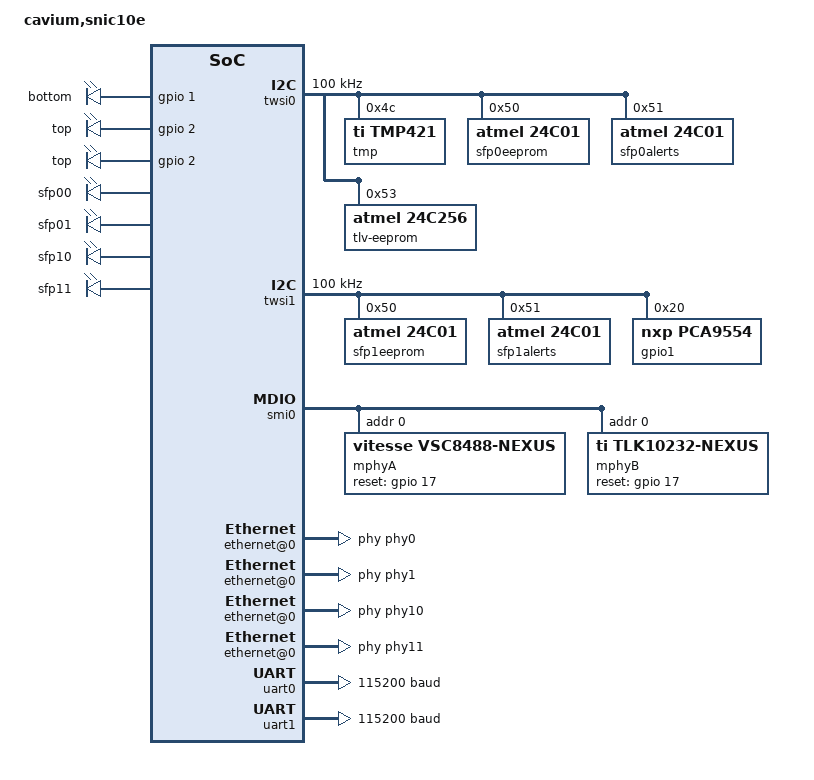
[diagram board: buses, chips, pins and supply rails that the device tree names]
/dts-v1/;
/*
 * Cavium Inc. (Small) NIC10e board
 */
/ {
	model = "cavium,snic10e";
	compatible = "cavium,snic10e";
	#address-cells = <2>;
	#size-cells = <2>;
	interrupt-parent = <&ciu>;

	soc@0 {
		compatible = "simple-bus";
		#address-cells = <2>;
		#size-cells = <2>;
		ranges; /* Direct mapping */

		ciu: interrupt-controller@1070000000000 {
			compatible = "cavium,octeon-3860-ciu";
			interrupt-controller;
			/* Interrupts are specified by two parts:
			 * 1) Controller register (0 or 1)
			 * 2) Bit within the register (0..63)
			 */
			#interrupt-cells = <2>;
			reg = <0x10700 0x00000000 0x0 0x7000>;
		};

		gpio: gpio-controller@1070000000800 {
			#gpio-cells = <2>;
			compatible = "cavium,octeon-3860-gpio";
			reg = <0x10700 0x00000800 0x0 0x100>;
			gpio-controller;
			/* Interrupts are specified by two parts:
			 * 1) GPIO pin number (0..15)
			 * 2) Triggering (1 - edge rising
			 *		  2 - edge falling
			 *		  4 - level active high
			 *		  8 - level active low)
			 */
			interrupt-controller;
			#interrupt-cells = <2>;
			/* The GPIO pins connect to 16 consecutive CUI bits */
			interrupts = <0 16>; /* <0 17> <0 18> <0 19>
				     <0 20> <0 21> <0 22> <0 23>
				     <0 24> <0 25> <0 26> <0 27>
				     <0 28> <0 29> <0 30> <0 31>; */
		};

		twsi0: i2c@1180000001000 {
			#address-cells = <1>;
			#size-cells = <0>;
			compatible = "cavium,octeon-3860-twsi";
			reg = <0x11800 0x00001000 0x0 0x200>;
			interrupts = <0 45>;
			clock-frequency = <100000>;

			tmp@4c {
				compatible = "ti,tmp421";
				reg = <0x4c>;
			};
			sfp0eeprom: eeprom@50 {
				compatible = "atmel,24c01";
				reg = <0x50>;
			};
			/* This is optional, available on some
			 * Avago devices
			 */
			sfp0alerts: eeprom@51 {
				compatible = "atmel,24c01";
				reg = <0x51>;
			};
			tlv-eeprom@53 {
				compatible = "atmel,24c256";
				reg = <0x53>;
				pagesize = <64>;
			};
		};

		twsi1: i2c@1180000001200 {
			#address-cells = <1>;
			#size-cells = <0>;
			compatible = "cavium,octeon-3860-twsi";
			reg = <0x11800 0x00001200 0x0 0x200>;
			interrupts = <0 59>;
			clock-frequency = <100000>;

			sfp1eeprom: eeprom@50 {
				compatible = "atmel,24c01";
				reg = <0x50>;
			};
			sfp1alerts: eeprom@51 {
				compatible = "atmel,24c01";
				reg = <0x51>;
			};
			gpio1: gpio@20 {
				reg = <0x20>;
				compatible = "nxp,pca9554";
				gpio-controller;
				#gpio-cells = <2>;
				interrupt-parent = <&gpio>;
				interrupt = <13 2>; /* OCTEON GPIO 13, falling edge */
				#interrupt-cells = <1>;
				cavium,phy-trim = "0,ti";
			};

		};

		smi0: mdio@1180000001800 {
			compatible = "cavium,octeon-3860-mdio";
			#address-cells = <1>;
			#size-cells = <0>;
			reg = <0x11800 0x00001800 0x0 0x40>;

			mphyA: ethernet-phy-nexus@A {
				reg = <0>;
				/* The Vitesse VSC8488 is a dual-PHY where
				 * some of the configuration is common across
				 * both of the phy devices such as the reset
				 * line and the base MDIO address.
				 */
				compatible = "vitesse,vsc8488-nexus", "ethernet-phy-nexus";
				#address-cells = <1>;
				#size-cells = <0>;
				ranges;
				cavium,phy-trim = "0,vitesse";

				/* Hardware reset signal */
				reset = <&gpio 17 0>;

				phy0: ethernet-phy@0 {
					/* Absolute address */
					reg = <0>;
					compatible = "vitesse,vsc8488", "ethernet-phy-ieee802.3-c45";
					interrupt-parent = <&gpio>;
					interrupts = <13 8>;

					mod_abs = <0>;
					/* TX Fault GPIO line */
					tx_fault = <1>;
					/* GPIO that enables output */
					txon = <4>;
					/* INT A GPIO output */
					inta = <5>;

					/* Optional equalization value to
					 * program into the PHY XS XAUI Rx
					 * Equalization control register.
					 * It is broken up into one nibble for
					 * each lane with lane 0 using bits
					 * 12 - 15.
					 * Use the following table:
					 *	0x0 - 0dB
					 *	0x1 - 1.41dB
					 *	0x2 - 2.24dB
					 *	0x3 - 2.83dB
					 *	0x5 - 4.48dB
					 *	0x6 - 5.39dB
					 *	0x7 - 6.07dB
					 *	0x9 - 6.18dB
					 *	0xA - 7.08dB (default)
					 *	0xB - 7.79dB
					 *	0xD - 9.96dB
					 *	0xE - 10.84dB
					 *	0xF - 11.55dB
					 *
					 * This is board specific and should
					 * only be defined by the hardware
					 * vendor.
					 */
					vitesse,rx_equalization = <0x0000>;
					/* Optional transmit pre-emphasis
					 * control.  This sets the
					 * PHY XS XAUI TX pre-emphasis control
					 * register.
					 *
					 * It uses bits 13-14 for lane 0,
					 * 10-11 for lane 1, 7-8 for lane 2
					 * and 4-5 for lane 3.
					 *
					 * Bits 2-3 are the LOS threshold
					 * setting and bit 1 enables
					 * the XAUI output high swing mode.
					 *
					 * Use the following table for
					 * pre-emphasis:
					 * 0b00 - 0dB
					 * 0b01 - 2.5dB
					 * 0b10 - 6dB (default)
					 * 0b11 - 12dB
					 *
					 * Use the following table for the LOS
					 * threshold setting:
					 *
					 * 0b00 - 50mV - 175mV (default)
					 * 0b01 - 60mV - 185mV
					 * 0b10 - 70mV - 195mV
					 * 0b11 - 80mV - 205mV
					 */
					vitesse,tx_preemphasis = <0x0000>;

					/* TX output driver slew rate control
					 * is bits 8-11 where 0x0 is the minimum
					 * and 0xF is the maximum.
					 * Default is 0xA.
					 *
					 * The TX output driver C(-1)
					 * coefficient is bits 0-4 where
					 * 0b00000 is the minimum (-4ma) and
					 * 0b11111 is the maximum (4ma).  The
					 * default 0x 0b01111.
					 */
					vitesse,txout_driver_ctrl1 = <0x0A0F>;

					/* The TX output driver C(0) coefficient
					 * is bits 8-12 with 0b00000 being the
					 * minimum (0mA) and 0b11111 being
					 * the maximum (16mA). The default is
					 * 0b10011
					 *
					 * The C(+1) coefficient is bits 0-5
					 * with 0b000000 being the minimum
					 * (-0.25mA) and 0b111111 being the
					 * maximum (-16mA).  The default is
					 * 0b000000.
					 */
					/*vitesse,txout_driver_ctrl2 = <0x1300>;*/

					/* DC_AGC_LOS_CONFIG1:
					 *   15: Suppress_Coarse_Adj_on_LOS_Clear
					 *	0: DC offset correction performed using coarse
					 *	   resolution mode (default)
					 *	1: DC offset correction performed using fine resolution
					 *	   mode when correction resumes after LOPC/LOS alarms
					 *	   clear.  This guarantees there will be no big jumps in
					 *	   the offset at the expense of taking longer to reach
					 *	   optimal setting.
					 *   14: Force_DC2_Fine_Adj:
					 *	Forces the DC offset correction to operate in fine
					 *	resolution adjustment mode at times when the algorithm.
					 *	0: DC offset correction makes coarse adjustments when
					 *	   correction mode is first enabled (default)
					 *	1: DC offset correction performed using fine resolution
					 *	   at all times.  This is slower.
					 *   13: Force_DC1_Fine_Adj:
					 *	Forces the DC offset correction to operate in fine
					 *	resolution adjustment mode at times when the algorithm.
					 *	0: DC offset correction makes coarse adjustments when
					 *	   correction mode is first enabled (default)
					 *	1: DC offset correction performed using fine resolution
					 *	   at all times.  This is slower.
					 *   12: Force_DC0_Fine_Adj:
					 *	Forces the DC offset correction to operate in fine
					 *	resolution adjustment mode at times when the algorithm.
					 *	0: DC offset correction makes coarse adjustments when
					 *	   correction mode is first enabled (default)
					 *	1: DC offset correction performed using fine resolution
					 *	   at all times.  This is slower.
					 *   10: Skip_DC2_Adj, 1 = skip DC2 offset correction
					 *   9:  Skip_DC1_Adj, 1 = skip DC1 offset correction
					 *   8:  Skip_DC0_Adj, 1 = skip DC0 offset correction
					 *
					 *   6-4: DC_Offset_Alarm_Mode (default 1)
					 *	Selects the alarm condition that will halt the DC offset
					 *	correction logic when the alarm(s) are set.
					 *	111: reserved
					 *	110: reserved
					 *	101: LOPC and software LOS detection
					 *	100: LOPC and hardware LOS detection
					 *	011: Software LOS detection
					 *	010: Hardware LOS detection
					 *	001: LOPC
					 *	000: Never.  DC offset correction will continue to make
					 *	     fine resolution adjustments to the offsets even
					 *	     when LOPC and LOS alarms are present.
					 *
					 *  3: AGC_Enable
					 *	Selects when hardware AGC adjustment logic and LOS
					 *	detection logic is enabled (default 1)
					 *	0: disabled
					 *	1: enabled
					 *  2: AGC_Suspend
					 *	Suspends the LOS detection logic and AGC logic
					 *	from making adjustments to the gain.  Bit valid only
					 *	if AGC_Enable=1
					 *	0: AGC adjustment enabled (default)
					 *	1: AGC adjustment suspended
					 *  1: DC_Offset_Adj_Enable
					 *	Select when the hardware DC offset correction logic is
					 *	enabled.
					 *	0: disable
					 *	1: enable (default)
					 *  0: DC_Offset_Adj_Suspend
					 *	Suspends the DC offset correction logic from making
					 *	adjustments to all offset settings.  Bit valid only if
					 *	DC_Offset_Adj_Enable=1
					 *	0: DC offset correction enabled (default)
					 *	1: DC offset correction suspended
					 *
					 * This setting is only applied for
					 * passive copper.
					 */
					vitesse,copper_dc_agc_los_config1 = <0x000A>;

					/* Disable aggressive track phase during
					 * firmware convergence if 0, enabled
					 * otherwise (default).
					 *
					 * This setting is only applied for
					 * passive copper.
					 */
					vitesse,copper_agg_track_phase = <0>;

					/* AGC_Config4
					 *
					 * 13-8: Ampl_Tolerance
					 *	This defines the hysterisis
					 *	built in to the AGC adjustment
					 *	circuit.  The VGA gain will not
					 *	be adjusted as long as the
					 *	measured input amplitude is
					 *	Inp_Ampl_Target +/- Amnpl_Tolerance.
					 *	 Default is 4.
					 * 7-0: Inp_Ampl_Target
					 *	This is the target amplitude
					 *	desired to be measured at the
					 *	peak detector when measuring
					 *	input amplitude.  The VGA gain
					 *	is adjusted to achieve this
					 *	target setting.
					 *	Default is 0x6E.
					 *
					 * This setting is only applied for
					 * passive copper.
					 */
					vitesse,copper_agc_config4 = <0x0496>;

					/* The Vitesse 10G PHY does not
					 * automatically read the SFP EEPROM
					 * so the host needs to do it to put
					 * the PHY in the proper mode for
					 * copper or optical.
					 */
					sfp-eeprom = <&sfp0eeprom>;
	                        };

				phy1: ethernet-phy@1 {
					/* Absolute address */
					reg = <0x1>;
					compatible = "vitesse,vsc8488", "ethernet-phy-ieee802.3-c45";
					interrupt-parent = <&gpio>;
					interrupts = <13 8>;

					mod_abs = <9>;
					/* TX Fault GPIO line */
					tx_fault = <8>;
					/* GPIO that enables output */
					txon = <10>;
					/* INT A GPIO output */
					inta = <5>;

					/* Optional equalization value to
					 * program into the PHY XS XAUI Rx
					 * Equalization control register.
					 * It is broken up into one nibble for
					 * each lane with lane 0 using bits
					 * 12 - 15.
					 * Use the following table:
					 *	0x0 - 0dB
					 *	0x1 - 1.41dB
					 *	0x2 - 2.24dB
					 *	0x3 - 2.83dB
					 *	0x5 - 4.48dB
					 *	0x6 - 5.39dB
					 *	0x7 - 6.07dB
					 *	0x9 - 6.18dB
					 *	0xA - 7.08dB (default)
					 *	0xB - 7.79dB
					 *	0xD - 9.96dB
					 *	0xE - 10.84dB
					 *	0xF - 11.55dB
					 *
					 * This is board specific and should
					 * only be defined by the hardware
					 * vendor.
					 */
					rx_equalization = <0x0000>;
					/* Optional transmit pre-emphasis
					 * control.  This sets the
					 * PHY XS XAUI TX pre-emphasis control
					 * register.
					 *
					 * It uses bits 13-14 for lane 0,
					 * 10-11 for lane 1, 7-8 for lane 2
					 * and 4-5 for lane 3.
					 *
					 * Bits 2-3 are the LOS threshold
					 * setting and bit 1 enables
					 * the XAUI output high swing mode.
					 *
					 * Use the following table for
					 * pre-emphasis:
					 * 0b00 - 0dB
					 * 0b01 - 2.5dB
					 * 0b10 - 6dB (default)
					 * 0b11 - 12dB
					 *
					 * Use the following table for the LOS
					 * threshold setting:
					 *
					 * 0b00 - 50mV - 175mV (default)
					 * 0b01 - 60mV - 185mV
					 * 0b10 - 70mV - 195mV
					 * 0b11 - 80mV - 205mV
					 */
					tx_preemphasis = <0x0000>;

					/* TX output driver slew rate control
					 * is bits 8-11 where 0x0 is the minimum
					 * and 0xF is the maximum.
					 * Default is 0xA.
					 *
					 * The TX output driver C(-1)
					 * coefficient is bits 0-4 where
					 * 0b00000 is the minimum (-4ma) and
					 * 0b11111 is the maximum (4ma).  The
					 * default 0x 0b01111.
					 */
					txout_driver_ctrl1 = <0x0A0F>;

					/* The TX output driver C(0) coefficient
					 * is bits 8-12 with 0b00000 being the
					 * minimum (0mA) and 0b11111 being
					 * the maximum (16mA). The default is
					 * 0b10011
					 *
					 * The C(+1) coefficient is bits 0-5
					 * with 0b000000 being the minimum
					 * (-0.25mA) and 0b111111 being the
					 * maximum (-16mA).  The default is
					 * 0b000000.
					 */
					/*txout_driver_ctrl2 = <0x1300>;*/

					/* DC_AGC_LOS_CONFIG1:
					 *   15: Suppress_Coarse_Adj_on_LOS_Clear
					 *	0: DC offset correction performed using coarse
					 *	   resolution mode (default)
					 *	1: DC offset correction performed using fine resolution
					 *	   mode when correction resumes after LOPC/LOS alarms
					 *	   clear.  This guarantees there will be no big jumps in
					 *	   the offset at the expense of taking longer to reach
					 *	   optimal setting.
					 *   14: Force_DC2_Fine_Adj:
					 *	Forces the DC offset correction to operate in fine
					 *	resolution adjustment mode at times when the algorithm.
					 *	0: DC offset correction makes coarse adjustments when
					 *	   correction mode is first enabled (default)
					 *	1: DC offset correction performed using fine resolution
					 *	   at all times.  This is slower.
					 *   13: Force_DC1_Fine_Adj:
					 *	Forces the DC offset correction to operate in fine
					 *	resolution adjustment mode at times when the algorithm.
					 *	0: DC offset correction makes coarse adjustments when
					 *	   correction mode is first enabled (default)
					 *	1: DC offset correction performed using fine resolution
					 *	   at all times.  This is slower.
					 *   12: Force_DC0_Fine_Adj:
					 *	Forces the DC offset correction to operate in fine
					 *	resolution adjustment mode at times when the algorithm.
					 *	0: DC offset correction makes coarse adjustments when
					 *	   correction mode is first enabled (default)
					 *	1: DC offset correction performed using fine resolution
					 *	   at all times.  This is slower.
					 *   10: Skip_DC2_Adj, 1 = skip DC2 offset correction
					 *   9:  Skip_DC1_Adj, 1 = skip DC1 offset correction
					 *   8:  Skip_DC0_Adj, 1 = skip DC0 offset correction
					 *
					 *   6-4: DC_Offset_Alarm_Mode (default 1)
					 *	Selects the alarm condition that will halt the DC offset
					 *	correction logic when the alarm(s) are set.
					 *	111: reserved
					 *	110: reserved
					 *	101: LOPC and software LOS detection
					 *	100: LOPC and hardware LOS detection
					 *	011: Software LOS detection
					 *	010: Hardware LOS detection
					 *	001: LOPC
					 *	000: Never.  DC offset correction will continue to make
					 *	     fine resolution adjustments to the offsets even
					 *	     when LOPC and LOS alarms are present.
					 *
					 *  3: AGC_Enable
					 *	Selects when hardware AGC adjustment logic and LOS
					 *	detection logic is enabled (default 1)
					 *	0: disabled
					 *	1: enabled
					 *  2: AGC_Suspend
					 *	Suspends the LOS detection logic and AGC logic
					 *	from making adjustments to the gain.  Bit valid only
					 *	if AGC_Enable=1
					 *	0: AGC adjustment enabled (default)
					 *	1: AGC adjustment suspended
					 *  1: DC_Offset_Adj_Enable
					 *	Select when the hardware DC offset correction logic is
					 *	enabled.
					 *	0: disable
					 *	1: enable (default)
					 *  0: DC_Offset_Adj_Suspend
					 *	Suspends the DC offset correction logic from making
					 *	adjustments to all offset settings.  Bit valid only if
					 *	DC_Offset_Adj_Enable=1
					 *	0: DC offset correction enabled (default)
					 *	1: DC offset correction suspended
					 *
					 * This setting is only applied for
					 * passive copper.
					 */
					vitesse,copper_dc_agc_los_config1 = <0x000A>;

					/* Disable aggressive track phase during
					 * firmware convergence if 0, enabled
					 * otherwise (default).
					 *
					 * This setting is only applied for
					 * passive copper.
					 */
					vitesse,copper_agg_track_phase = <0>;

					/* AGC_Config4
					 *
					 * 13-8: Ampl_Tolerance
					 *	This defines the hysterisis
					 *	built in to the AGC adjustment
					 *	circuit.  The VGA gain will not
					 *	be adjusted as long as the
					 *	measured input amplitude is
					 *	Inp_Ampl_Target +/- Amnpl_Tolerance.
					 *	 Default is 4.
					 * 7-0: Inp_Ampl_Target
					 *	This is the target amplitude
					 *	desired to be measured at the
					 *	peak detector when measuring
					 *	input amplitude.  The VGA gain
					 *	is adjusted to achieve this
					 *	target setting.
					 *	Default is 0x6E.
					 *
					 * This setting is only applied for
					 * passive copper.
					 */
					vitesse,copper_agc_config4 = <0x0496>;

					/* The Vitesse 10G PHY does not
					 * automatically read the SFP EEPROM
					 * so the host needs to do it to put
					 * the PHY in the proper mode for
					 * copper or optical.
					 */
					sfp-eeprom = <&sfp1eeprom>;
	                        };
			};
			mphyB: ethernet-phy-nexus@B {
				reg = <0>;
				/* The TI TLK10232 is a dual-PHY where
				 * some of the configuration is common across
				 * both of the phy devices such as the reset
				 * line and the base MDIO address.
				 */
				compatible = "ti,tlk10232-nexus", "ethernet-phy-nexus";
				#address-cells = <1>;
				#size-cells = <0>;
				ranges;
				cavium,phy-trim = "0,ti";

				/* Hardware reset signal open-drain active low on GPIO 17, must not be driven high. */
				reset = <&gpio 17 2>;

				phy11: ethernet-phy@0 {
					/* Absolute address */
					reg = <0>;
					compatible = "ti,tlk10232", "ethernet-phy-ieee802.3-c45";

					/* TX fault input signal for PHY from SFP+ */
					tx-fault	= <&gpio1 4 0>;
					/* TX disable for PHY to SFP+ */
					tx-disable	= <&gpio1 5 0>;
					/* MOD ABS signal for PHY from SFP+ */
					mod-abs		= <&gpio1 6 0>;
					/* RX los of singal for PHY from SFP+ */
					rx-los		= <&gpio1 7 0>;
	                        };

				phy10: ethernet-phy@1 {
					/* Absolute address */
					reg = <0x1>;
					compatible = "ti,tlk10232", "ethernet-phy-ieee802.3-c45";

					/* TX fault input signal for PHY */
					tx-fault	= <&gpio1 0 0>;
					/* TX disable for PHY */
					tx-disable	= <&gpio1 1 0>;
					/* MOD ABS signal for PHY */
					mod-abs		= <&gpio1 2 0>;
					/* RX los of singal for PHY */
					rx-los		= <&gpio1 3 0>;
	                        };
			};
		};

		pip: pip@11800a0000000 {
			compatible = "cavium,octeon-3860-pip";
			#address-cells = <1>;
			#size-cells = <0>;
			reg = <0x11800 0xa0000000 0x0 0x2000>;

			interface@A {
				compatible = "cavium,octeon-3860-pip-interface";
				#address-cells = <1>;
				#size-cells = <0>;
				reg = <0>; /* interface */
				cavium,phy-trim = "0,vitesse";

				ethernet@0 {
					compatible = "cavium,octeon-3860-pip-port";
					reg = <0x0>; /* Port */
					local-mac-address = [ 00 00 00 00 00 00 ];
					phy-handle = <&phy0>;
					sfp-slot = <&sfp00>;
				};
			};
			interface@B {
				compatible = "cavium,octeon-3860-pip-interface";
				#address-cells = <1>;
				#size-cells = <0>;
				reg = <1>; /* interface */
				cavium,phy-trim = "0,vitesse";

				ethernet@0 {
					compatible = "cavium,octeon-3860-pip-port";
					reg = <0x0>; /* Port */
					local-mac-address = [ 00 00 00 00 00 00 ];
					phy-handle = <&phy1>;
					sfp-slot = <&sfp01>;
				};
			};
			interface@C {
				compatible = "cavium,octeon-3860-pip-interface";
				#address-cells = <1>;
				#size-cells = <0>;
				reg = <0>; /* interface */
				cavium,phy-trim = "0,ti";

				ethernet@0 {
					compatible = "cavium,octeon-3860-pip-port";
					reg = <0x0>; /* Port */
					local-mac-address = [ 00 00 00 00 00 00 ];
					phy-handle = <&phy10>;
					sfp-slot = <&sfp10>;
				};
			};
			interface@D {
				compatible = "cavium,octeon-3860-pip-interface";
				#address-cells = <1>;
				#size-cells = <0>;
				reg = <1>; /* interface */
				cavium,phy-trim = "0,ti";

				ethernet@0 {
					compatible = "cavium,octeon-3860-pip-port";
					reg = <0x0>; /* Port */
					local-mac-address = [ 00 00 00 00 00 00 ];
					phy-handle = <&phy11>;
					sfp-slot = <&sfp11>;
				};
			};
		};

		uart0: serial@1180000000800 {
			compatible = "cavium,octeon-3860-uart","ns16550";
			reg = <0x11800 0x00000800 0x0 0x400>;
			clock-frequency = <0>;
			current-speed = <115200>;
			reg-shift = <3>;
			interrupts = <0 34>;
		};

		uart1: serial@1180000000c00 {
			compatible = "cavium,octeon-3860-uart","ns16550";
			reg = <0x11800 0x00000c00 0x0 0x400>;
			clock-frequency = <0>;
			current-speed = <115200>;
			reg-shift = <3>;
			interrupts = <0 35>;
		};

		bootbus: bootbus@1180000000000 {
			compatible = "cavium,octeon-3860-bootbus";
			reg = <0x11800 0x00000000 0x0 0x200>;
			/* The chip select number and offset */
			#address-cells = <2>;
			/* The size of the chip select region */
			#size-cells = <1>;
			ranges = <0 0  0       0x1f400000  0xc00000>,
				 <1 0  0x10000 0x30000000  0>,
				 <2 0  0       0x1f000000  0x100000>,
				 <3 0  0x10000 0x50000000  0>,
				 <4 0  0x10000 0x60000000  0>,
				 <5 0  0x10000 0x70000000  0>,
				 <6 0  0x10000 0x80000000  0>,
				 <7 0  0x10000 0x90000000  0>;

			cavium,cs-config@0 {
				compatible = "cavium,octeon-3860-bootbus-config";
				cavium,cs-index = <0>;
				cavium,t-adr  = <10>;
				cavium,t-ce   = <50>;
				cavium,t-oe   = <50>;
				cavium,t-we   = <35>;
				cavium,t-rd-hld = <25>;
				cavium,t-wr-hld = <35>;
				cavium,t-pause  = <0>;
				cavium,t-wait   = <0>;
				cavium,t-page   = <25>;
				cavium,t-rd-dly = <0>;

				cavium,pages     = <8>;
				cavium,bus-width = <8>;
			};
			cavium,cs-config@2 {
				compatible = "cavium,octeon-3860-bootbus-config";
				cavium,cs-index = <2>;
				cavium,t-adr  = <0>;
				cavium,t-ce   = <50>;
				cavium,t-oe   = <20>;
				cavium,t-we   = <46>;
				cavium,t-rd-hld = <8>;
				cavium,t-wr-hld = <10>;
				cavium,t-pause  = <0>;
				cavium,t-wait   = <0>;
				cavium,t-page   = <1>;
				cavium,t-ale	= <1>;
				cavium,t-rd-dly = <0>;

				cavium,pages     = <0>;
				cavium,bus-width = <8>;
			};
			flash0: nor@0,0 {
				compatible = "cfi-flash";
				reg = <0 0 0x800000>;
				#address-cells = <1>;
				#size-cells = <1>;

				partition@0 {
					label = "bootloader";
					reg = <0x0 0x1c0000>;
					read-only;
				};
				partition@1c0000 {
					label = "kernel";
					reg = <0x1c0000 0x63e000>;
				};
				partition@7fe000 {
					label = "environment";
					reg = <0x7fe0000 0x2000>;
					read-only;
				};
			};
			psram0: psram@2,0 {
				compatible = "micron,mt45w1mw16pd";
				reg = <2 0x20 0x20>, <2 0 0x20>;
			};
		};

		dma0: dma-engine@1180000000100 {
			compatible = "cavium,octeon-5750-bootbus-dma";
			reg = <0x11800 0x00000100 0x0 0x8>;
			interrupts = <0 63>;
		};
		dma1: dma-engine@1180000000108 {
			compatible = "cavium,octeon-5750-bootbus-dma";
			reg = <0x11800 0x00000108 0x0 0x8>;
			interrupts = <0 63>;
		};
	};
	gpio-leds {
		compatible = "gpio-leds";

		d1a {
			label = "bottom";
			gpios = <&gpio 1 0>;
			default-state = "keep";
			cavium,phy-trim = "0,ti";
		};
		d1b-t {
			label = "top";
			gpios = <&gpio 2 0>;
			default-state = "keep";
			cavium,phy-trim = "0,ti";
		};
		d1b-v {
			label = "top";
			gpios = <&gpio 2 0>;
			default-state = "keep";
			cavium,phy-trim = "0,vitesse";
		};
		sfp00: sfp-slot@00 {
			compatible = "ethernet,sfp-slot";
			tx_disable = <&phy0 4 0>;
			mod_abs    = <&phy0 0 0>;
			tx_error   = <&phy0 1 0>;
			eeprom     = <&sfp0eeprom>;
			diag       = <&sfp0alerts>;
			cavium,phy-trim = "0,vitesse";
		};
		sfp01: sfp-slot@01 {
			compatible = "ethernet,sfp-slot";
			tx_disable = <&phy1 10 0>;
			mod_abs    = <&phy1 9 0>;
			tx_error   = <&phy1 8 0>;
			eeprom     = <&sfp1eeprom>;
			diag       = <&sfp1alerts>;
			cavium,phy-trim = "0,vitesse";
		};
		sfp10: sfp-slot@10 {
			compatible = "ethernet,sfp-slot";
			tx_disable = <&gpio1 5 0>;
			mod_abs    = <&gpio1 6 0>;
			tx_error   = <&gpio1 4 0>;
			rx_los     = <&gpio1 7 0>;
			eeprom     = <&sfp0eeprom>;
			diag       = <&sfp0alerts>;
			cavium,phy-trim = "0,ti";
		};
		sfp11: sfp-slot@11 {
			compatible = "ethernet,sfp-slot";
			tx_disable = <&gpio1 1 0>;
			mod_abs    = <&gpio1 2 0>;
			tx_error   = <&gpio1 0 0>;
			rx_los     = <&gpio1 3 0>;
			eeprom     = <&sfp1eeprom>;
			diag       = <&sfp1alerts>;
			cavium,phy-trim = "0,ti";
		};
	};

	aliases {
		pip = &pip;
		smi0 = &smi0;
		twsi0 = &twsi0;
		twsi1 = &twsi1;
		uart0 = &uart0;
		uart1 = &uart1;
		flash0 = &flash0;
	};
 };
